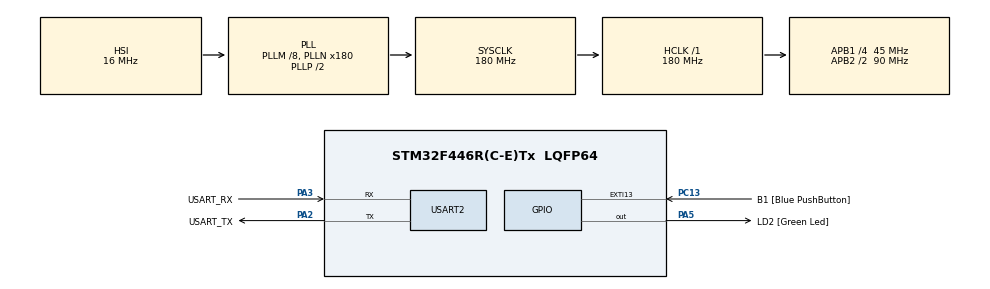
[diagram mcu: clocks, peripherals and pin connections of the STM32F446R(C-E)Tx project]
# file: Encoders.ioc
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Mcu.Family=STM32F4
Mcu.Name=STM32F446R(C-E)Tx
Mcu.Package=LQFP64
NVIC.PriorityGroup=NVIC_PRIORITYGROUP_0
PA13.GPIO_Label=TMS
PA13.Mode=Serial_Wire
PA13.Signal=SYS_JTMS-SWDIO
PA14.GPIO_Label=TCK
PA14.Mode=Serial_Wire
PA14.Signal=SYS_JTCK-SWCLK
PA2.GPIO_Label=USART_TX
PA2.Mode=Asynchronous
PA2.Signal=USART2_TX
PA3.GPIO_Label=USART_RX
PA3.Mode=Asynchronous
PA3.Signal=USART2_RX
PA5.GPIO_Label=LD2 [Green Led]
PA5.Signal=GPIO_Output
PB3.GPIO_Label=SWO
PB3.Signal=SYS_JTDO-SWO
PC13.GPIO_Label=B1 [Blue PushButton]
PC13.GPIO_ModeDefaultEXTI=GPIO_MODE_IT_FALLING
PC13.Signal=GPXTI13
PC14-OSC32_IN.Mode=LSE-External-Oscillator
PC14-OSC32_IN.Signal=RCC_OSC32_IN
PC15-OSC32_OUT.Mode=LSE-External-Oscillator
PC15-OSC32_OUT.Signal=RCC_OSC32_OUT
PH0-OSC_IN.Mode=HSE-External-Oscillator
PH0-OSC_IN.Signal=RCC_OSC_IN
PH1-OSC_OUT.Mode=HSE-External-Oscillator
PH1-OSC_OUT.Signal=RCC_OSC_OUT
ProjectManager.HeapSize=0x200
ProjectManager.StackSize=0x400
ProjectManager.TargetToolchain=STM32CubeIDE
RCC.48MHZClocksFreq_Value=84000000
RCC.AHBFreq_Value=180000000
RCC.APB1CLKDivider=RCC_HCLK_DIV4
RCC.APB1Freq_Value=45000000
RCC.APB1TimFreq_Value=90000000
RCC.APB2CLKDivider=RCC_HCLK_DIV2
RCC.APB2Freq_Value=90000000
RCC.APB2TimFreq_Value=180000000
RCC.CortexFreq_Value=180000000
RCC.FLatency-AdvancedSettings=FLASH_LATENCY_5
RCC.HCLKFreq_Value=180000000
RCC.HSE_VALUE=8000000
RCC.HSI_VALUE=16000000
RCC.PLLM=8
RCC.PLLN=180
RCC.SYSCLKFreq_VALUE=180000000
RCC.SYSCLKSource=RCC_SYSCLKSOURCE_PLLCLK
RCC.USBFreq_Value=180000000
RCC.VCOOutputFreq_Value=360000000
USART2.VirtualMode=VM_ASYNC
board=NUCLEO-F446RE

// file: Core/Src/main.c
/* USER CODE BEGIN Header */
/**
  ******************************************************************************
  * @file           : main.c
  * @brief          : Main program body
  ******************************************************************************
  * @attention
  *
  * Copyright (c) 2025 STMicroelectronics.
  * All rights reserved.
  *
  * This software is licensed under terms that can be found in the LICENSE file
  * in the root directory of this software component.
  * If no LICENSE file comes with this software, it is provided AS-IS.
  *
  ******************************************************************************
  */
/* USER CODE END Header */
#include "main.h"

/* USER CODE BEGIN Includes */
#include <stdio.h>
/* USER CODE END Includes */

UART_HandleTypeDef huart2;

void SystemClock_Config(void);
static void MX_GPIO_Init(void);
static void MX_USART2_UART_Init(void);

/* USER CODE BEGIN 0 */
void Channel_A_Config(void)
{
  uint32_t *pAHB1ClkCtrlReg =   (uint32_t*)0x40023830; // address of AHB1 clock control register
  uint32_t *pAFRLPortAReg   =   (uint32_t*)0x40020024; // address of alternate function register of port A
  uint32_t *pPortAModeReg   =   (uint32_t*)0x40020000; // address of port A mode register
  uint32_t *pPortAPullUpReg =   (uint32_t*)0x4002000C; // address of port A pull up register

  *pAHB1ClkCtrlReg |= 0x1;        // port A clock enable
  *pAFRLPortAReg   |= 0x00000001; // alternate function of Timer 1 Channel 1 enabled
  *pPortAModeReg   &= 0xFFFCFFFF;
  *pPortAModeReg   |= 0x00020000; // port A Pin 8 configured for 'Alternate function'
  *pPortAPullUpReg |= 0x10000;    // port A Pin 8 pulled up
}

void Channel_B_Config(void)
{
  uint32_t *pAHB1ClkCtrlReg =   (uint32_t*)0x40023830; // address of AHB1 clock control register
  uint32_t *pAFRLPortAReg   =   (uint32_t*)0x40020024; // address of alternate function register of port A
  uint32_t *pPortAModeReg   =   (uint32_t*)0x40020000; // address of port A mode register
  uint32_t *pPortAPullUpReg =   (uint32_t*)0x4002000C; // address of port A pull up register

  *pAHB1ClkCtrlReg |= 0x1;        // port A clock enable
  *pAFRLPortAReg   |= 0x00000010; // alternate function of Timer 1 Channel 2 enabled
  *pPortAModeReg   &= 0xFFF3FFFF;
  *pPortAModeReg   |= 0x00080000; // port A Pin 9 configured for 'Alternate function'
  *pPortAPullUpReg |= 0x40000;    // port A Pin 9 pulled up
}

void Encoder_Init(uint16_t ARR_Value)
{
	 uint32_t *pAPB2ClkCtrlReg =   (uint32_t*)0x40023844; // address of APB2 clock control register
	 uint32_t *pTimer1ArrReg   =   (uint32_t*)0x4001002C; // address of timer 1 auto reload register
	 uint32_t *pTimer1CCMR1Reg =   (uint32_t*)0x40010018; // address of timer 1 capture/compare register
	 uint32_t *pTimer1CcerReg  =   (uint32_t*)0x40010020; // address of timer 1 capture/compare enable register
     uint32_t *pTimer1SmcrReg  =   (uint32_t*)0x40010008; // address of timer 1 slave mode control register
     uint32_t *pTimer1CR1Reg   =   (uint32_t*)0x40010000; // address of timer 1 control register 1

    *pAPB2ClkCtrlReg |= 0x1;           //timer 1 clock enable
    *pTimer1ArrReg   =  ARR_Value - 1; // maximum count value for counter
    *pTimer1CCMR1Reg |= 0x1;   // mapping 'Input capture 1' mode in timer 1 Channel 1 and configuring it as input
    *pTimer1CCMR1Reg |= 0x100; // mapping 'Input capture 2' mode in timer 1 Channel 2 and configuring it as input
    *pTimer1CcerReg  |= 0x2;   // channel 1 triggered at rising edge
    *pTimer1CcerReg  |= 0x20;  // channel 2 triggered at rising edge
    *pTimer1SmcrReg  |= 0x3;   // counter counts up/down on both channel 1 and channel 2 edges depending on the level of the other input.
    *pTimer1CR1Reg   |= 0x1;   // counter enable
}

uint16_t Get_Encoder_Counts()
{
	 uint32_t *pTimer1CNTReg   =   (uint32_t*)0x40010024; // address of timer 2 counter register
	 return *pTimer1CNTReg; // reading counts from counter register

}

/* USER CODE END 0 */

int main(void)
{

  /* MCU Configuration--------------------------------------------------------*/

  /* Reset of all peripherals, Initializes the Flash interface and the Systick. */
  HAL_Init();

  /* Configure the system clock */
  SystemClock_Config();

  /* Initialize all configured peripherals */
  MX_GPIO_Init();
  MX_USART2_UART_Init();
  /* USER CODE BEGIN 2 */
  Encoder_Init(65535);
  /* USER CODE END 2 */

  /* Infinite loop */
  while (1)
  {

    /* USER CODE BEGIN 3 */
	printf("Received Integers: %u\r\n", Get_Encoder_Counts());

  }
  /* USER CODE END 3 */
}

void SystemClock_Config(void)
{
  RCC_OscInitTypeDef RCC_OscInitStruct = {0};
  RCC_ClkInitTypeDef RCC_ClkInitStruct = {0};

  /** Configure the main internal regulator output voltage
  */
  __HAL_RCC_PWR_CLK_ENABLE();
  __HAL_PWR_VOLTAGESCALING_CONFIG(PWR_REGULATOR_VOLTAGE_SCALE1);

  /** Initializes the RCC Oscillators according to the specified parameters
  * in the RCC_OscInitTypeDef structure.
  */
  RCC_OscInitStruct.OscillatorType = RCC_OSCILLATORTYPE_HSI;
  RCC_OscInitStruct.HSIState = RCC_HSI_ON;
  RCC_OscInitStruct.HSICalibrationValue = RCC_HSICALIBRATION_DEFAULT;
  RCC_OscInitStruct.PLL.PLLState = RCC_PLL_ON;
  RCC_OscInitStruct.PLL.PLLSource = RCC_PLLSOURCE_HSI;
  RCC_OscInitStruct.PLL.PLLM = 8;
  RCC_OscInitStruct.PLL.PLLN = 180;
  RCC_OscInitStruct.PLL.PLLP = RCC_PLLP_DIV2;
  RCC_OscInitStruct.PLL.PLLQ = 2;
  RCC_OscInitStruct.PLL.PLLR = 2;
  if (HAL_RCC_OscConfig(&RCC_OscInitStruct) != HAL_OK)
  {
    Error_Handler();
  }

  /** Activate the Over-Drive mode
  */
  if (HAL_PWREx_EnableOverDrive() != HAL_OK)
  {
    Error_Handler();
  }

  /** Initializes the CPU, AHB and APB buses clocks
  */
  RCC_ClkInitStruct.ClockType = RCC_CLOCKTYPE_HCLK|RCC_CLOCKTYPE_SYSCLK
                              |RCC_CLOCKTYPE_PCLK1|RCC_CLOCKTYPE_PCLK2;
  RCC_ClkInitStruct.SYSCLKSource = RCC_SYSCLKSOURCE_PLLCLK;
  RCC_ClkInitStruct.AHBCLKDivider = RCC_SYSCLK_DIV1;
  RCC_ClkInitStruct.APB1CLKDivider = RCC_HCLK_DIV4;
  RCC_ClkInitStruct.APB2CLKDivider = RCC_HCLK_DIV2;

  if (HAL_RCC_ClockConfig(&RCC_ClkInitStruct, FLASH_LATENCY_5) != HAL_OK)
  {
    Error_Handler();
  }
}

static void MX_USART2_UART_Init(void)
{

  huart2.Instance = USART2;
  huart2.Init.BaudRate = 115200;
  huart2.Init.WordLength = UART_WORDLENGTH_8B;
  huart2.Init.StopBits = UART_STOPBITS_1;
  huart2.Init.Parity = UART_PARITY_NONE;
  huart2.Init.Mode = UART_MODE_TX_RX;
  huart2.Init.HwFlowCtl = UART_HWCONTROL_NONE;
  huart2.Init.OverSampling = UART_OVERSAMPLING_16;
  if (HAL_UART_Init(&huart2) != HAL_OK)
  {
    Error_Handler();
  }

}

static void MX_GPIO_Init(void)
{
  GPIO_InitTypeDef GPIO_InitStruct = {0};

  /* GPIO Ports Clock Enable */
  __HAL_RCC_GPIOC_CLK_ENABLE();
  __HAL_RCC_GPIOH_CLK_ENABLE();
  __HAL_RCC_GPIOA_CLK_ENABLE();
  __HAL_RCC_GPIOB_CLK_ENABLE();

  /*Configure GPIO pin Output Level */
  HAL_GPIO_WritePin(LD2_GPIO_Port, LD2_Pin, GPIO_PIN_RESET);

  /*Configure GPIO pin : B1_Pin */
  GPIO_InitStruct.Pin = B1_Pin;
  GPIO_InitStruct.Mode = GPIO_MODE_IT_FALLING;
  GPIO_InitStruct.Pull = GPIO_NOPULL;
  HAL_GPIO_Init(B1_GPIO_Port, &GPIO_InitStruct);

  /*Configure GPIO pin : LD2_Pin */
  GPIO_InitStruct.Pin = LD2_Pin;
  GPIO_InitStruct.Mode = GPIO_MODE_OUTPUT_PP;
  GPIO_InitStruct.Pull = GPIO_NOPULL;
  GPIO_InitStruct.Speed = GPIO_SPEED_FREQ_LOW;
  HAL_GPIO_Init(LD2_GPIO_Port, &GPIO_InitStruct);

}

/* USER CODE BEGIN 4 */
int _write(int file, char *ptr, int len) {
	HAL_UART_Transmit(&huart2, (uint8_t*) ptr, len, HAL_MAX_DELAY);
	return len;
}
/* USER CODE END 4 */

void Error_Handler(void)
{
  __disable_irq();
  while (1)
  {
  }
}
